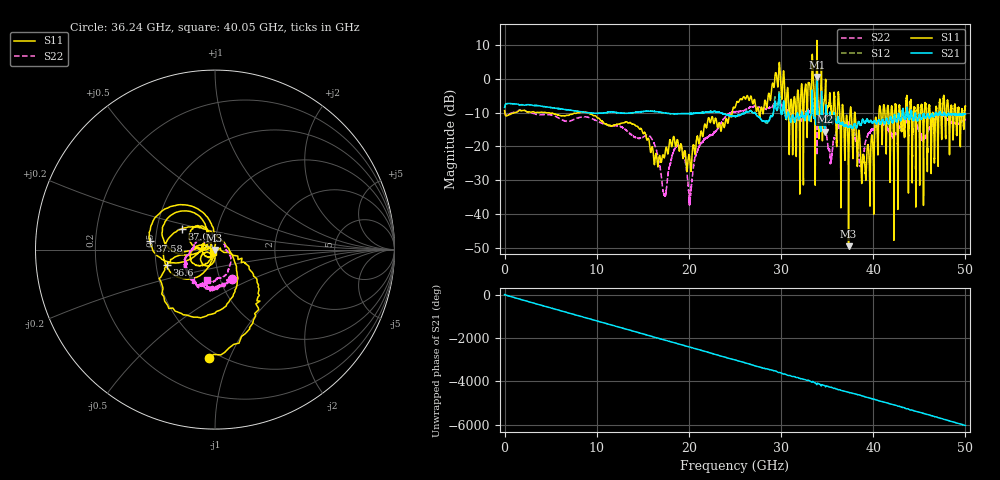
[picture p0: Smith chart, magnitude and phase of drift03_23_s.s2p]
!Created with skrf (http://scikit-rf.org).
# Hz S RI R 50.0
!freq ReS11 ImS11 ReS21 ImS21 ReS12 ImS12 ReS22 ImS22
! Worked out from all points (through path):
!   10001 points, 300 kHz to 50 GHz, reference 50 ohm
!   highest |S21| = 0.50 dB at 33.9 GHz (marker M1); lowest = -15.7 dB at 34.8 GHz (marker M2)
!   group delay of S21, straight-line fit = 335 ps
!   lowest |S11| = -49.5 dB at 37.32 GHz (marker M3), VSWR 1.01, Z = 49.8 - j0.254 ohm
!   |S11| at or under -10 dB: 4.477 GHz to 7.95 GHz (3.473 GHz wide, 55.9 % of centre); 9.01 GHz to 24.7 GHz (15.69 GHz wide, 93.1 % of centre); 38.01 GHz to 40.63 GHz (2.614 GHz wide, 6.65 % of centre) (the widest 3 of 59)
!   |S22| runs from -37.4 to -5.9 dB; largest |S21 - S12| = 0.11
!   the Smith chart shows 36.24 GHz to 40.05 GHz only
!   S11 on the Smith chart (normalised r, x): 36.24 GHz: 0.44, -0.84; 36.6 GHz: 0.57, -0.11; 37.04 GHz: 0.67, +0.17; 37.58 GHz: 0.46, +0.05; 40.05 GHz: 0.98, -0.03
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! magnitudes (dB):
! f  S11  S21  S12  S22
! 300 kHz  -9.4  -8.5  -8.5  -9.4
! 8.335 GHz  -9.9  -9.8  -9.8  -11.3
! 16.67 GHz  -25.5  -9.8  -9.8  -23.4
! 17.37 GHz  -23.1  -10.1  -10.1  -34.3
! 19.05 GHz  -20.1  -10.3  -10.3  -19.9
! 20.11 GHz  -24.3  -10.3  -10.3  -36.5
! 21.18 GHz  -18.0  -10.1  -10.1  -19.6
! 25 GHz  -8.6  -11.1  -11.1  -9.8
! 29.66 GHz  -2.4  -8.3  -8.4  -7.2
! 31.08 GHz  -6.1  -12.7  -12.7  -10.5
! 33.34 GHz  0.4  -7.5  -7.6  -9.5
! 33.9 GHz  11.3  0.5  0.1  -22.6
! 34.8 GHz  -3.2  -15.7  -13.8  -14.4
! 36.24 GHz  -4.4  -11.8  -11.7  -14.3
! 36.6 GHz  -11.0  -13.0  -13.0  -13.5
! 37.04 GHz  -13.2  -13.9  -13.9  -13.8
! 37.32 GHz  -49.5  -14.4  -14.5  -13.6
! 37.58 GHz  -8.7  -13.9  -13.8  -14.0
! 38.7 GHz  -27.8  -13.5  -13.4  -25.5
! 40.05 GHz  -35.0  -12.8  -12.8  -15.2
! 41.67 GHz  -9.7  -13.3  -13.2  -14.9
! 50 GHz  -8.1  -10.5  -10.5  -12.2
